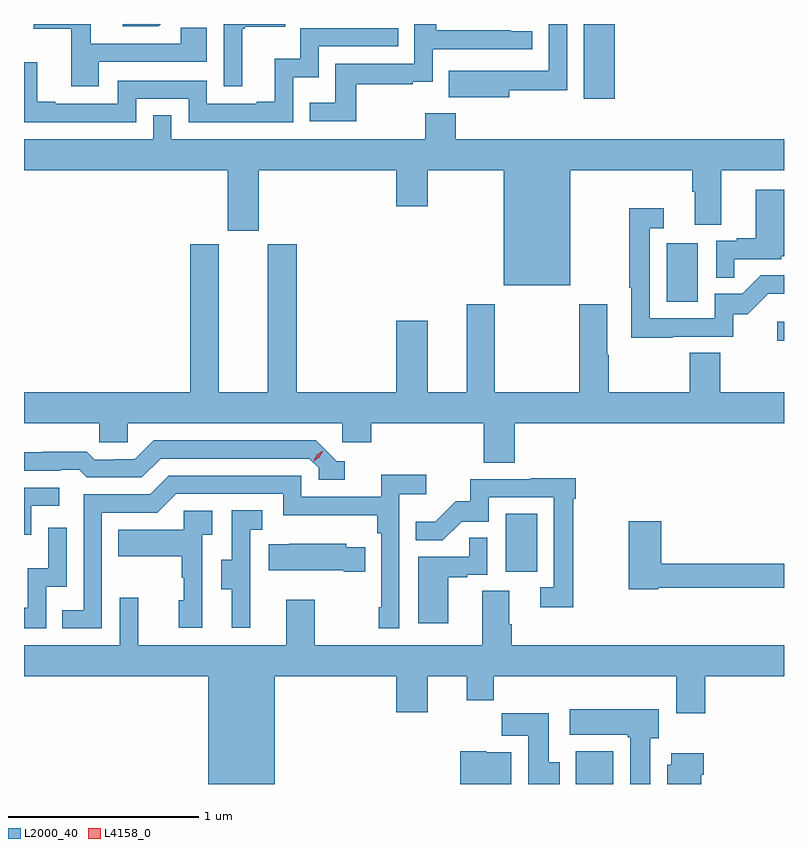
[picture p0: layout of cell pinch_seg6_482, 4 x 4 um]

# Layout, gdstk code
import gdstk
lib = gdstk.Library(unit=1e-6, precision=1e-09)
def R(c, l, rs):  # rectangles x0, y0, x1, y1
    for r in rs: c.add(gdstk.rectangle(r[:2], r[2:], *l))
def P(c, l, *ps):  # polygons
    for p in ps: c.add(gdstk.Polygon(p, *l))
L2000_40 = (2000, 40)
L4158_0 = (4158, 0)

pinch_seg6_482 = lib.new_cell('pinch_seg6_482')
R(pinch_seg6_482, L2000_40, [(861.257,922.794,861.454,922.966), (860.888,923.91,861.052,924.217), (862.317,925.126,862.352,925.228), (861.734,925.332,861.898,925.639), (861.299,926.4,861.46,926.794)])
P(pinch_seg6_482, L2000_40, [(859.501,926.769),(859.513,926.769),(859.513,926.78),(859.726,926.78),(859.726,926.794),(859.404,926.794),(859.404,926.466),(859.501,926.466)],
  [(860.905,926.446),(861.21,926.446),(861.21,926.794),(861.101,926.794),(861.101,926.792),(861.114,926.792),(861.114,926.547),(860.801,926.547),(860.801,926.548),(860.587,926.548),(860.587,926.408),(860.905,926.408)],
  [(858.745,926.595),(859.314,926.595),(859.314,926.775),(859.177,926.775),(859.177,926.691),(858.703,926.691),(858.703,926.794),(858.402,926.794),(858.402,926.769),(858.601,926.769),(858.601,926.466),(858.745,926.466)],
  [(860.101,926.478),(860.399,926.478),(860.399,926.489),(860.502,926.489),(860.502,926.661),(861.028,926.661),(861.028,926.757),(860.915,926.757),(860.915,926.762),(860.522,926.762),(860.522,926.794),(860.406,926.794),(860.406,926.586),(859.99,926.586),(859.99,926.38),(859.855,926.38),(859.855,926.283),(860.101,926.283)],
  [(859.073,926.794),(858.873,926.794),(858.873,926.781),(859.06,926.781)],
  [(858.942,926.4),(859.218,926.4),(859.218,926.277),(859.77,926.277),(859.77,926.513),(859.902,926.513),(859.902,926.676),(860.321,926.676),(860.321,926.772),(859.806,926.772),(859.806,926.611),(859.673,926.611),(859.673,926.386),(859.577,926.386),(859.577,926.373),(859.314,926.373),(859.314,926.496),(858.846,926.496),(858.846,926.373),(858.517,926.373),(858.517,926.386),(858.422,926.386),(858.422,926.594),(858.352,926.594),(858.352,926.277),(858.942,926.277)],
  [(859.128,926.315),(859.032,926.315),(859.032,926.188),(858.352,926.188),(858.352,926.024),(859.424,926.024),(859.424,925.707),(859.588,925.707),(859.588,926.024),(860.312,926.024),(860.312,925.836),(860.476,925.836),(860.476,926.024),(860.876,926.024),(860.876,925.418),(861.226,925.418),(861.226,926.024),(861.869,926.024),(861.869,925.912),(861.881,925.912),(861.881,925.738),(862.021,925.738),(862.021,926.024),(862.352,926.024),(862.352,926.188),(860.624,926.188),(860.624,926.323),(860.464,926.323),(860.464,926.188),(859.128,926.188)],
  [(862.091,925.557),(862.338,925.557),(862.338,925.572),(862.352,925.572),(862.352,925.921),(862.202,925.921),(862.202,925.666),(862.103,925.666),(862.103,925.653),(861.996,925.653),(861.996,925.459),(862.091,925.459)],
  [(861.767,925.149),(862.086,925.149),(862.086,925.266),(862.162,925.266),(862.269,925.373),(862.352,925.373),(862.352,925.472),(862.229,925.472),(862.131,925.374),(861.987,925.374),(861.987,925.245),(861.645,925.245),(861.645,925.719),(861.718,925.719),(861.718,925.825),(861.537,925.825),(861.537,925.405),(861.549,925.405),(861.549,925.144),(861.767,925.144)],
  [(860.936,924.692),(862.352,924.692),(862.352,924.856),(862.016,924.856),(862.016,925.064),(861.856,925.064),(861.856,924.856),(861.429,924.856),(861.429,925.052),(861.421,925.052),(861.421,925.318),(861.274,925.318),(861.274,924.856),(860.829,924.856),(860.829,925.318),(860.681,925.318),(860.681,924.856),(860.476,924.856),(860.476,925.231),(860.312,925.231),(860.312,924.856),(859.787,924.856),(859.787,925.635),(859.634,925.635),(859.634,924.856),(859.378,924.856),(859.378,925.635),(859.226,925.635),(859.226,924.856),(858.352,924.856),(858.352,924.692),(858.747,924.692),(858.747,924.594),(858.897,924.594),(858.897,924.692),(860.028,924.692),(860.028,924.594),(860.18,924.594),(860.18,924.692),(860.771,924.692),(860.771,924.484),(860.936,924.484)],
  [(860.041,924.492),(859.998,924.492),(859.887,924.603),(859.034,924.603),(858.935,924.504),(858.828,924.504),(858.828,924.501),(858.725,924.501),(858.683,924.544),(858.45,924.544),(858.45,924.541),(858.352,924.541),(858.352,924.444),(858.545,924.444),(858.545,924.447),(858.644,924.447),(858.683,924.408),(858.972,924.408),(859.071,924.507),(859.854,924.507),(859.902,924.459),(859.902,924.396),(860.041,924.396)],
  [(858.762,924.222),(859.053,924.222),(859.152,924.321),(859.716,924.321),(859.716,924.209),(860.212,924.209),(860.212,924.113),(860.232,924.113),(860.232,923.725),(860.22,923.725),(860.22,923.613),(860.328,923.613),(860.328,924.32),(860.47,924.32),(860.47,924.422),(860.231,924.422),(860.231,924.306),(859.812,924.306),(859.812,924.417),(859.115,924.417),(859.016,924.318),(858.666,924.318),(858.666,923.709),(858.553,923.709),(858.553,923.613),(858.762,923.613)],
  [(861.242,924.296),(861.257,924.296),(861.257,924.404),(861.019,924.404),(861.019,924.399),(860.701,924.399),(860.701,924.282),(860.624,924.282),(860.517,924.175),(860.413,924.175),(860.413,924.076),(860.557,924.076),(860.655,924.174),(860.799,924.174),(860.799,924.303),(861.141,924.303),(861.141,923.829),(861.069,923.829),(861.069,923.724),(861.242,923.724)],
  [(858.39,924.258),(858.538,924.258),(858.538,924.354),(858.352,924.354),(858.352,924.105),(858.39,924.105)],
  [(859.544,923.829),(859.542,923.829),(859.542,924.133),(859.606,924.133),(859.606,924.236),(859.446,924.236),(859.446,923.973),(859.391,923.973),(859.391,923.818),(859.445,923.818),(859.445,923.616),(859.544,923.616)],
  [(859.29,924.107),(859.342,924.107),(859.342,924.231),(859.194,924.231),(859.194,924.133),(858.847,924.133),(858.847,923.993),(859.182,923.993),(859.182,923.879),(859.192,923.879),(859.192,923.76),(859.166,923.76),(859.166,923.616),(859.29,923.616)],
  [(861.69,923.826),(862.352,923.826),(862.352,923.954),(861.707,923.954),(861.707,924.178),(861.536,924.178),(861.536,923.818),(861.69,923.818)],
  [(858.468,923.832),(858.576,923.832),(858.576,924.142),(858.48,924.142),(858.48,923.93),(858.371,923.93),(858.371,923.722),(858.352,923.722),(858.352,923.613),(858.468,923.613)],
  [(860.584,923.883),(860.684,923.883),(860.684,923.895),(860.79,923.895),(860.79,924.089),(860.695,924.089),(860.695,923.991),(860.426,923.991),(860.426,923.64),(860.584,923.64)],
  [(860.147,924.04),(860.049,924.04),(860.049,924.058),(859.747,924.058),(859.747,924.055),(859.639,924.055),(859.639,923.918),(860.036,923.918),(860.036,923.911),(860.147,923.911)],
  [(859.672,923.36),(860.312,923.36),(860.312,923.172),(860.476,923.172),(860.476,923.36),(860.681,923.36),(860.681,923.236),(860.825,923.236),(860.825,923.36),(861.785,923.36),(861.785,923.166),(861.938,923.166),(861.938,923.36),(862.352,923.36),(862.352,923.524),(860.918,923.524),(860.918,923.636),(860.905,923.636),(860.905,923.81),(860.765,923.81),(860.765,923.524),(859.881,923.524),(859.881,923.764),(859.733,923.764),(859.733,923.524),(858.953,923.524),(858.953,923.773),(858.855,923.773),(858.855,923.524),(858.352,923.524),(858.352,923.36),(859.322,923.36),(859.322,922.794),(859.672,922.794)],
  [(861.649,923.034),(861.694,923.034),(861.694,923.188),(861.225,923.188),(861.225,923.054),(861.529,923.054),(861.529,923.041),(861.542,923.041),(861.542,922.794),(861.649,922.794)],
  [(861.172,922.908),(861.115,922.908),(861.115,923.167),(860.866,923.167),(860.866,923.048),(861.005,923.048),(861.005,922.794),(861.172,922.794)],
  [(860.917,922.96),(860.784,922.96),(860.784,922.966),(860.648,922.966),(860.648,922.794),(860.917,922.794)],
  [(861.916,922.844),(861.929,922.844),(861.929,922.957),(861.758,922.957),(861.758,922.896),(861.737,922.896),(861.737,922.794),(861.916,922.794)])
P(pinch_seg6_482, L4158_0, [(859.876,924.494),(859.876,924.494),(859.893,924.527),(859.923,924.546),(859.924,924.546),(859.924,924.546),(859.907,924.514),(859.877,924.494)])

lib.write_gds('pinch_seg6_482.gds')
